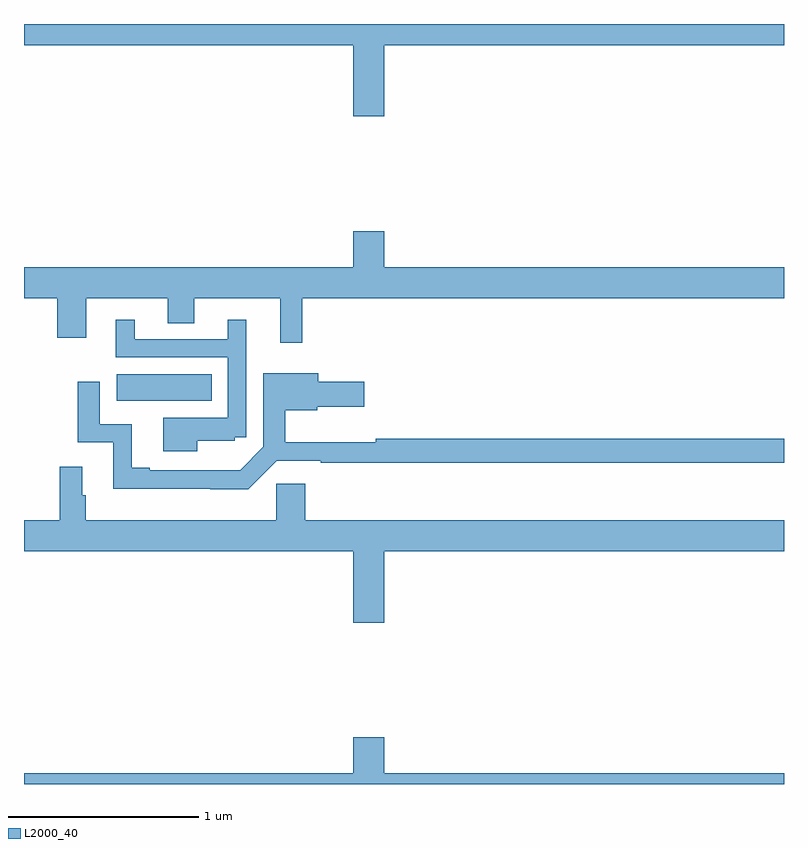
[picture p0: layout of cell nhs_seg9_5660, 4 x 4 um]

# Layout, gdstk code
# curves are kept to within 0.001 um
import gdstk
lib = gdstk.Library(unit=1e-6, precision=1e-09)
def R(c, l, rs):  # rectangles x0, y0, x1, y1
    for r in rs: c.add(gdstk.rectangle(r[:2], r[2:], *l))
def P(c, l, *ps):  # polygons
    for p in ps: c.add(gdstk.Polygon(p, *l))
L2000_40 = (2000, 40)

nhs_seg9_5660 = lib.new_cell('nhs_seg9_5660')
R(nhs_seg9_5660, L2000_40, [(439.488,1226.516,439.988,1226.656)])
P(nhs_seg9_5660, L2000_40, [(440.896,1228.388),(443,1228.388),(443,1228.5),(439,1228.5),(439,1228.388),(440.732,1228.388),(440.732,1228.014),(440.896,1228.014)],
  [(440.465,1227.056),(443,1227.056),(443,1227.22),(440.896,1227.22),(440.896,1227.409),(440.732,1227.409),(440.732,1227.22),(439,1227.22),(439,1227.056),(439.175,1227.056),(439.175,1226.85),(439.327,1226.85),(439.327,1227.056),(439.757,1227.056),(439.757,1226.926),(439.897,1226.926),(439.897,1227.056),(440.348,1227.056),(440.348,1226.823),(440.465,1226.823)],
  [(439.912,1226.306),(440.109,1226.306),(440.109,1226.325),(440.169,1226.325),(440.169,1226.944),(440.072,1226.944),(440.072,1226.841),(439.582,1226.841),(439.582,1226.944),(439.484,1226.944),(439.484,1226.745),(440.073,1226.745),(440.073,1226.428),(439.733,1226.428),(439.733,1226.252),(439.912,1226.252)],
  [(440.331,1226.202),(440.563,1226.202),(440.563,1226.19),(443,1226.19),(443,1226.318),(440.852,1226.318),(440.852,1226.3),(440.375,1226.299),(440.375,1226.468),(440.544,1226.468),(440.544,1226.486),(440.791,1226.486),(440.791,1226.616),(440.548,1226.616),(440.548,1226.662),(440.259,1226.662),(440.259,1226.274),(440.137,1226.152),(439.663,1226.151),(439.663,1226.164),(439.567,1226.164),(439.567,1226.394),(439.398,1226.394),(439.398,1226.617),(439.282,1226.617),(439.282,1226.298),(439.469,1226.298),(439.469,1226.054),(439.981,1226.054),(439.981,1226.052),(440.18,1226.052)],
  [(440.896,1225.724),(443,1225.724),(443,1225.888),(440.48,1225.888),(440.48,1226.079),(440.328,1226.079),(440.328,1225.888),(439.325,1225.888),(439.325,1226.021),(439.306,1226.021),(439.306,1226.17),(439.189,1226.17),(439.189,1225.888),(439,1225.888),(439,1225.724),(440.732,1225.724),(440.732,1225.35),(440.896,1225.35)],
  [(443,1224.556),(440.896,1224.556),(440.896,1224.745),(440.732,1224.745),(440.732,1224.556),(439,1224.556),(439,1224.5),(443,1224.5)])

lib.write_gds('nhs_seg9_5660.gds')
